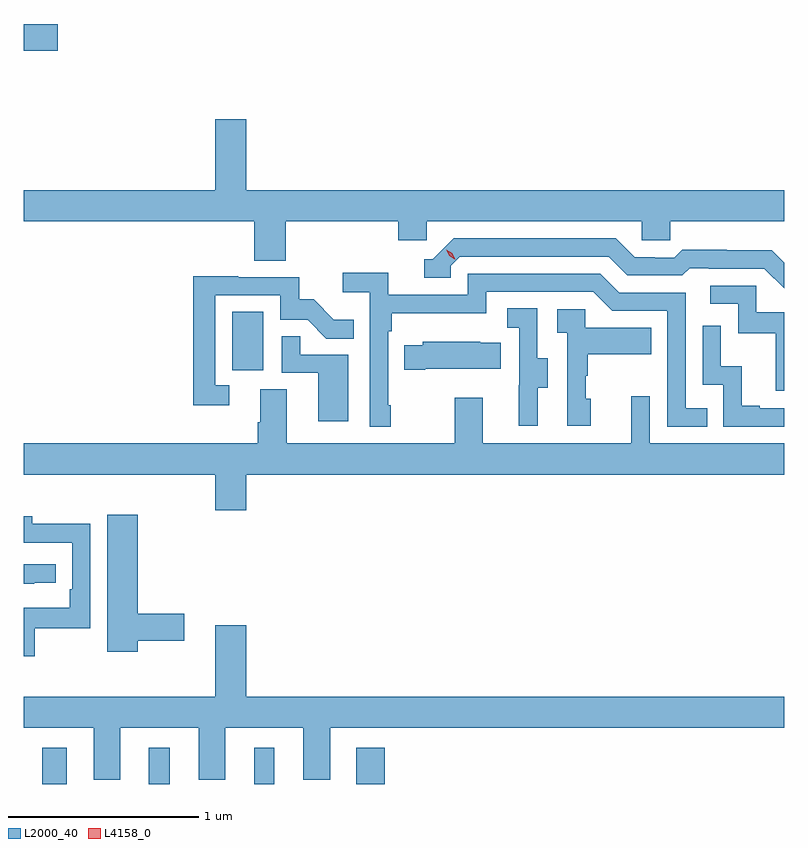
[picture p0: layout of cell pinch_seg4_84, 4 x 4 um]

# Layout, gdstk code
import gdstk
lib = gdstk.Library(unit=1e-6, precision=1e-09)
def R(c, l, rs):  # rectangles x0, y0, x1, y1
    for r in rs: c.add(gdstk.rectangle(r[:2], r[2:], *l))
def P(c, l, *ps):  # polygons
    for p in ps: c.add(gdstk.Polygon(p, *l))
L2000_40 = (2000, 40)
L4158_0 = (4158, 0)

pinch_seg4_84 = lib.new_cell('pinch_seg4_84')
R(pinch_seg4_84, L2000_40, [(1051.211,809.844,1051.339,810.034), (1051.772,809.844,1051.882,810.034), (1052.327,809.844,1052.431,810.034), (1052.864,809.844,1053.014,810.034), (1052.21,812.022,1052.374,812.329), (1051.114,813.701,1051.291,813.843)])
P(pinch_seg4_84, L2000_40, [(1052.284,813.343),(1052.12,813.343),(1052.12,812.968),(1051.114,812.968),(1051.114,812.804),(1052.327,812.804),(1052.327,812.596),(1052.492,812.596),(1052.492,812.804),(1053.083,812.804),(1053.083,812.706),(1053.234,812.706),(1053.234,812.804),(1054.365,812.804),(1054.365,812.706),(1054.515,812.706),(1054.515,812.804),(1055.114,812.804),(1055.114,812.968),(1052.284,812.968)],
  [(1055.114,812.587),(1055.048,812.653),(1054.812,812.653),(1054.812,812.656),(1054.579,812.656),(1054.537,812.613),(1054.434,812.613),(1054.434,812.616),(1054.327,812.616),(1054.228,812.715),(1053.375,812.715),(1053.264,812.604),(1053.221,812.604),(1053.221,812.508),(1053.36,812.508),(1053.36,812.571),(1053.408,812.619),(1054.191,812.619),(1054.29,812.52),(1054.579,812.52),(1054.618,812.559),(1054.717,812.559),(1054.717,812.556),(1055.01,812.556),(1055.114,812.452)],
  [(1053.043,811.837),(1053.03,811.837),(1053.03,812.225),(1053.05,812.225),(1053.05,812.321),(1053.546,812.321),(1053.546,812.433),(1054.11,812.433),(1054.209,812.334),(1054.5,812.334),(1054.5,811.725),(1054.709,811.725),(1054.709,811.821),(1054.596,811.821),(1054.596,812.43),(1054.246,812.43),(1054.147,812.529),(1053.45,812.529),(1053.45,812.418),(1053.032,812.418),(1053.032,812.534),(1052.793,812.534),(1052.793,812.432),(1052.934,812.432),(1052.934,811.725),(1053.043,811.725)],
  [(1052.194,811.941),(1052.121,811.941),(1052.121,812.415),(1052.463,812.415),(1052.463,812.286),(1052.607,812.286),(1052.705,812.188),(1052.849,812.188),(1052.849,812.287),(1052.745,812.287),(1052.638,812.394),(1052.562,812.394),(1052.562,812.511),(1052.243,812.511),(1052.243,812.516),(1052.005,812.516),(1052.005,811.836),(1052.194,811.836)],
  [(1055.114,812.325),(1054.968,812.325),(1054.968,812.466),(1054.725,812.466),(1054.725,812.37),(1054.872,812.37),(1054.872,812.217),(1055.071,812.217),(1055.071,811.914),(1055.114,811.914)],
  [(1053.817,811.93),(1053.871,811.93),(1053.871,812.085),(1053.816,812.085),(1053.816,812.348),(1053.657,812.348),(1053.657,812.245),(1053.72,812.245),(1053.72,811.941),(1053.719,811.941),(1053.719,811.728),(1053.817,811.728)],
  [(1054.096,811.872),(1054.071,811.872),(1054.071,811.991),(1054.081,811.991),(1054.081,812.105),(1054.415,812.105),(1054.415,812.245),(1054.068,812.245),(1054.068,812.343),(1053.921,812.343),(1053.921,812.219),(1053.972,812.219),(1053.972,811.728),(1054.096,811.728)],
  [(1055.114,811.821),(1054.987,811.821),(1054.987,811.834),(1054.892,811.834),(1054.892,812.042),(1054.782,812.042),(1054.782,812.254),(1054.686,812.254),(1054.686,811.944),(1054.794,811.944),(1054.794,811.725),(1055.114,811.725)],
  [(1052.821,812.103),(1052.567,812.103),(1052.567,812.201),(1052.472,812.201),(1052.472,812.007),(1052.663,812.007),(1052.663,811.752),(1052.821,811.752)],
  [(1053.226,812.03),(1053.623,812.03),(1053.623,812.167),(1053.515,812.167),(1053.515,812.17),(1053.213,812.17),(1053.213,812.152),(1053.115,812.152),(1053.115,812.023),(1053.226,812.023)],
  [(1052.284,811.472),(1055.114,811.472),(1055.114,811.636),(1054.407,811.636),(1054.407,811.885),(1054.31,811.885),(1054.31,811.636),(1053.529,811.636),(1053.529,811.876),(1053.382,811.876),(1053.382,811.636),(1052.497,811.636),(1052.497,811.922),(1052.357,811.922),(1052.357,811.748),(1052.345,811.748),(1052.345,811.636),(1051.114,811.636),(1051.114,811.472),(1052.12,811.472),(1052.12,811.284),(1052.284,811.284)],
  [(1051.714,810.598),(1051.957,810.598),(1051.957,810.74),(1051.714,810.74),(1051.714,811.261),(1051.553,811.261),(1051.553,810.54),(1051.714,810.54)],
  [(1051.171,810.663),(1051.464,810.663),(1051.464,811.214),(1051.159,811.214),(1051.159,811.252),(1051.114,811.252),(1051.114,811.113),(1051.368,811.113),(1051.368,810.868),(1051.355,810.868),(1051.355,810.772),(1051.114,810.772),(1051.114,810.516),(1051.171,810.516)],
  [(1051.169,810.903),(1051.282,810.903),(1051.282,810.999),(1051.114,810.999),(1051.114,810.898),(1051.169,810.898)],
  [(1051.621,810.14),(1052.033,810.14),(1052.033,809.867),(1052.173,809.867),(1052.173,810.14),(1052.585,810.14),(1052.585,809.867),(1052.725,809.867),(1052.725,810.14),(1055.114,810.14),(1055.114,810.304),(1052.284,810.304),(1052.284,810.679),(1052.12,810.679),(1052.12,810.304),(1051.114,810.304),(1051.114,810.14),(1051.481,810.14),(1051.481,809.867),(1051.621,809.867)])
P(pinch_seg4_84, L4158_0, [(1053.382,812.604),(1053.352,812.623),(1053.336,812.656),(1053.336,812.656),(1053.336,812.656),(1053.367,812.637),(1053.383,812.604),(1053.383,812.604)])

lib.write_gds('pinch_seg4_84.gds')
